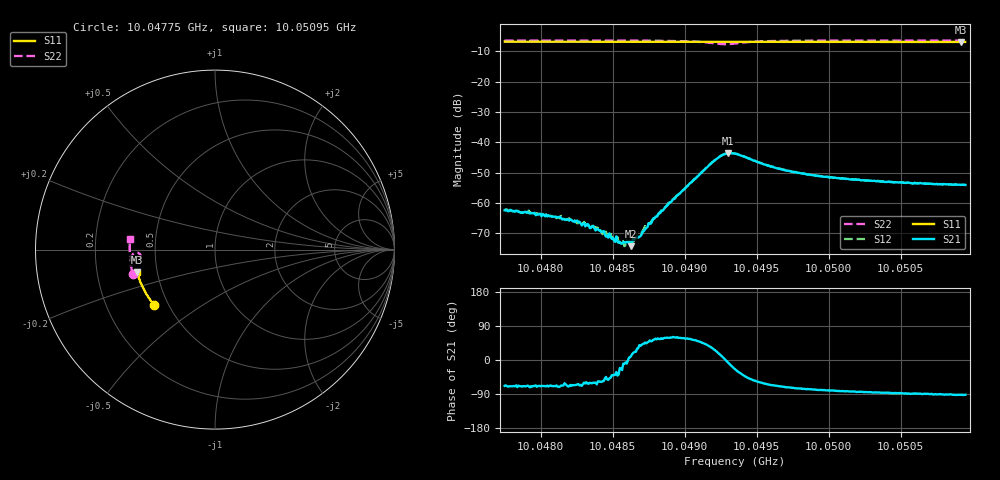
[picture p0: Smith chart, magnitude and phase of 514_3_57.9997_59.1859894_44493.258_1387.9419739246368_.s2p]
#  HZ  S  RI  R  50.00
! Rohde & Schwarz Vector Network Analyzer
! Rohde-Schwarz,ZNB20-2Port,1311601062101988,3.16
! Created: UTC 3/21/2024, 1:13:19 AM
! freq[Hz]  re:S11  im:S11  re:S21  im:S21  re:S12  im:S12  re:S22  im:S22
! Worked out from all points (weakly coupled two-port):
!   401 points, 10.04775 GHz to 10.05095 GHz, reference 50 ohm
!   highest |S21| = -43.55 dB at 10.0493 GHz (marker M1); lowest = -74.2 dB at 10.04863 GHz (marker M2)
!   lowest |S11| = -6.9 dB at 10.05092 GHz (marker M3), VSWR 2.65, Z = 19.2 - j6.12 ohm
!   |S11| at or under -10 dB: nowhere
!   |S22| runs from -7.6 to -6.4 dB; largest |S21 - S12| = 0.0005
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1.004775e10  -0.3378 -0.309  0.000282 -0.000706  0.000306 -0.000711  -0.4592 -0.1344
1.0048118e10  -0.3532 -0.29  0.000192 -0.000544  0.000264 -0.000506  -0.4648 -0.1095
1.0048286e10  -0.3597 -0.2813  0.000159 -0.000396  0.000196 -0.000429  -0.4668 -0.0974
1.0048382e10  -0.3635 -0.276  0.000177 -0.000305  0.000225 -0.000326  -0.4678 -0.0904
1.0048422e10  -0.365 -0.274  0.000177 -0.000284  0.000187 -0.000277  -0.4685 -0.0875
1.004847e10  -0.3668 -0.2713  0.000164 -0.000213  0.000208 -0.000192  -0.4687 -0.0837
1.004851e10  -0.3683 -0.2692  0.000185 -0.000153  0.000195 -0.000142  -0.4689 -0.0805
1.004855e10  -0.3698 -0.2671  0.000214 -8.19e-05  0.000212 -8.38e-05  -0.4693 -0.0774
1.0048574e10  -0.3706 -0.2657  0.000222 -3.87e-05  0.000224 -6.85e-05  -0.4693 -0.0755
1.004863e10  -0.3727 -0.2627  0.000191 3.87e-05  0.00021 3.79e-05  -0.4696 -0.071
1.0048646e10  -0.3733 -0.2619  0.00025 9.01e-05  0.00023 6.46e-05  -0.4696 -0.0697
1.0048686e10  -0.3746 -0.2596  0.000214 0.000175  0.000234 0.000181  -0.4696 -0.0663
1.0048822e10  -0.3796 -0.2519  0.00039 0.000566  0.000347 0.000588  -0.4689 -0.0538
1.0049189e10  -0.3914 -0.2309  0.00395 0.00246  0.00379 0.00267  -0.4338 -0.0168
1.0049253e10  -0.3933 -0.2273  0.00593 0.0012  0.00582 0.00159  -0.4169 -0.0275
1.0049301e10  -0.3946 -0.2247  0.0066 -0.000804  0.00663 -0.000377  -0.4135 -0.0442
1.0049349e10  -0.396 -0.2222  0.00593 -0.00268  0.00614 -0.00232  -0.4221 -0.0586
1.0049637e10  -0.405 -0.2055  0.00141 -0.00348  0.00163 -0.00343  -0.4677 -0.0416
1.0049885e10  -0.4118 -0.1907  0.000622 -0.00283  0.000791 -0.0028  -0.4741 -0.0177
1.005042e10  -0.4245 -0.1581  0.000106 -0.00224  0.00028 -0.00223  -0.4754 0.0238
1.0050916e10  -0.434 -0.1269  -7.42e-05 -0.00198  4.77e-05 -0.00199  -0.4724 0.0581
1.0050948e10  -0.4346 -0.1248  -5.81e-05 -0.00198  7.1e-05 -0.00199  -0.4722 0.0603
